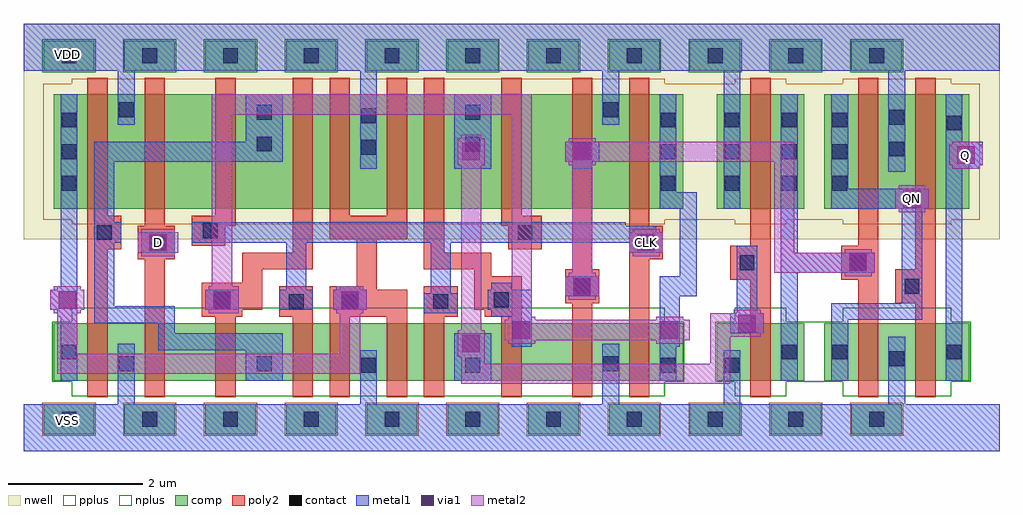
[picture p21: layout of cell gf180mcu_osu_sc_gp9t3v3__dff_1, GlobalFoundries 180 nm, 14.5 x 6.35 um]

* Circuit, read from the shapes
.subckt gf180mcu_osu_sc_gp9t3v3__dff_1 CLK D Q QN VDD VSS
XM1 VSS n1 n2 VSS nfet_03v3 w=0.85u l=0.3u
XM2 n3 D VSS VSS nfet_03v3 w=0.85u l=0.3u
XM3 n1 n4 n3 VSS nfet_03v3 w=0.85u l=0.3u
XM4 n5 CLK n1 VSS nfet_03v3 w=0.85u l=0.3u
XM5 VSS n2 n5 VSS nfet_03v3 w=0.85u l=0.3u
XM6 n6 n2 VSS VSS nfet_03v3 w=0.85u l=0.3u
XM7 n7 CLK n6 VSS nfet_03v3 w=0.85u l=0.3u
XM8 n8 n4 n7 VSS nfet_03v3 w=0.85u l=0.3u
XM9 VSS n9 n8 VSS nfet_03v3 w=0.85u l=0.3u
XM10 n4 CLK VSS VSS nfet_03v3 w=0.85u l=0.3u
XM11 n9 n7 VSS VSS nfet_03v3 w=0.85u l=0.3u
XM12 VSS n9 QN VSS nfet_03v3 w=0.85u l=0.3u
XM13 Q QN VSS VSS nfet_03v3 w=0.85u l=0.3u
XM14 VDD n1 n2 VDD pfet_03v3 w=1.7u l=0.3u
XM15 n10 D VDD VDD pfet_03v3 w=1.7u l=0.3u
XM16 n1 CLK n10 VDD pfet_03v3 w=1.7u l=0.3u
XM17 n11 n4 n1 VDD pfet_03v3 w=1.7u l=0.3u
XM18 VDD n2 n11 VDD pfet_03v3 w=1.7u l=0.3u
XM19 n12 n2 VDD VDD pfet_03v3 w=1.7u l=0.3u
XM20 n7 n4 n12 VDD pfet_03v3 w=1.7u l=0.3u
XM21 n13 CLK n7 VDD pfet_03v3 w=1.7u l=0.3u
XM22 VDD n9 n13 VDD pfet_03v3 w=1.7u l=0.3u
XM23 n4 CLK VDD VDD pfet_03v3 w=1.7u l=0.3u
XM24 n9 n7 VDD VDD pfet_03v3 w=1.7u l=0.3u
XM25 VDD n9 QN VDD pfet_03v3 w=1.7u l=0.3u
XM26 Q QN VDD VDD pfet_03v3 w=1.7u l=0.3u
.ends

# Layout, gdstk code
import gdstk
lib = gdstk.Library(unit=1e-6, precision=1e-09)
def R(c, l, rs):  # rectangles x0, y0, x1, y1
    for r in rs: c.add(gdstk.rectangle(r[:2], r[2:], *l))
def A(c, l, x, y, w, h, nx, ny, dx, dy):  # array of equal rectangles
    R(c, l, [(x+i*dx, y+j*dy, x+i*dx+w, y+j*dy+h) for i in range(nx) for j in range(ny)])
nwell = (21, 0)
comp = (22, 0)
poly2 = (30, 0)
pplus = (31, 0)
nplus = (32, 0)
contact = (33, 0)
metal1 = (34, 0)
via1 = (35, 0)
metal2 = (36, 0)

gf180mcu_osu_sc_gp9t3v3_ = lib.new_cell('gf180mcu_osu_sc_gp9t3v3__dff_1')
R(gf180mcu_osu_sc_gp9t3v3_, nwell, [(0,3.15,14.5,6.35)])
A(gf180mcu_osu_sc_gp9t3v3_, comp, 0.3, 0.25, 0.75, 0.45, 11, 2, 1.2, 5.4)
R(gf180mcu_osu_sc_gp9t3v3_, comp, [(0.45,1.05,9.8,1.9), (10.3,1.05,11.6,1.9), (11.9,1.05,14.05,1.9), (0.45,3.6,9.8,5.3), (10.3,3.6,11.6,5.3), (11.9,3.6,14.05,5.3)])
R(gf180mcu_osu_sc_gp9t3v3_, poly2, [(0.95,0.8,1.25,3), (1.8,0.8,2.1,2.85), (2.85,0.8,3.15,2), (4,0.8,4.3,2), (4.55,0.8,4.85,2), (5.4,0.8,5.7,2), (5.95,0.8,6.25,2), (7.1,0.8,7.4,2), (8.15,0.8,8.45,2.2), (9,0.8,9.3,2.85), (10.8,0.8,11.1,2.55), (12.4,0.8,12.7,2.55), (13.25,0.8,13.55,2.2), (2.65,2,3.25,2.1), (3.8,2,4.3,2.45), (4.55,2,5.7,2.4), (5.95,2,6.45,2.45), (6.85,2,7.4,2.1), (2.65,2.1,3.55,2.5), (6.7,2.1,7.4,2.6), (8.05,2.2,8.55,2.7), (12.95,2.2,13.55,2.7), (4.55,2.4,5.25,2.45), (4.95,2.45,5.25,3.15), (3.25,2.5,3.55,2.7), (10.5,2.55,11.1,3.05), (12.15,2.55,12.7,3.05), (6.7,2.6,6.95,2.7), (3.25,2.7,4.3,2.95), (5.95,2.7,6.95,2.95), (8.15,2.7,8.45,5.55), (13.25,2.7,13.55,5.55), (1.7,2.85,2.25,3.35), (9,2.85,9.5,3.35), (4,2.95,4.3,5.55), (5.95,2.95,6.25,5.55), (0.95,3,1.45,3.5), (7.2,3,7.7,3.35), (2.5,3.05,3,3.35), (10.8,3.05,11.1,5.55), (12.4,3.05,12.7,5.55), (4.55,3.15,5.7,3.5), (1.8,3.35,2.1,5.55), (2.5,3.35,3.15,3.5), (7.1,3.35,7.7,3.5), (9,3.35,9.3,5.55), (0.95,3.5,1.25,5.55), (2.85,3.5,3.15,5.55), (4.55,3.5,4.85,5.55), (5.4,3.5,5.7,5.55), (7.1,3.5,7.4,5.55)])
A(gf180mcu_osu_sc_gp9t3v3_, pplus, 0.28, 0.23, 0.79, 0.49, 11, 1, 1.2, 0)
R(gf180mcu_osu_sc_gp9t3v3_, pplus, [(0.72,3.37,9.53,3.44), (10.57,3.37,11.33,3.44), (12.17,3.37,13.78,3.44), (0.29,3.44,14.21,5.46), (0.72,5.46,9.53,5.53), (10.57,5.46,11.33,5.53), (12.17,5.46,13.78,5.53)])
A(gf180mcu_osu_sc_gp9t3v3_, nplus, 0.28, 5.63, 0.79, 0.49, 11, 1, 1.2, 0)
R(gf180mcu_osu_sc_gp9t3v3_, nplus, [(0.72,0.82,9.53,1.03), (10.57,0.82,11.33,1.03), (12.17,0.82,13.78,1.03), (0.43,1.03,9.82,1.92), (10.28,1.03,14.07,1.92), (0.72,1.92,9.53,2.13), (10.57,1.92,11.33,2.13), (12.17,1.92,13.78,2.13)])
A(gf180mcu_osu_sc_gp9t3v3_, contact, 0.565, 0.365, 0.22, 0.22, 11, 2, 1.2, 5.4)
A(gf180mcu_osu_sc_gp9t3v3_, contact, 0.565, 3.87, 0.22, 0.22, 1, 3, 0, 0.47)
A(gf180mcu_osu_sc_gp9t3v3_, contact, 9.465, 3.87, 0.22, 0.22, 1, 3, 0, 0.47)
A(gf180mcu_osu_sc_gp9t3v3_, contact, 10.415, 3.87, 0.22, 0.22, 1, 3, 0, 0.47)
A(gf180mcu_osu_sc_gp9t3v3_, contact, 11.265, 3.87, 0.22, 0.22, 1, 3, 0, 0.47)
A(gf180mcu_osu_sc_gp9t3v3_, contact, 12.015, 3.87, 0.22, 0.22, 1, 3, 0, 0.47)
R(gf180mcu_osu_sc_gp9t3v3_, contact, [(5.015,1.165,5.235,1.385), (6.565,1.165,6.785,1.385), (9.465,1.165,9.685,1.385), (10.415,1.165,10.635,1.385), (1.415,1.19,1.635,1.41), (3.465,1.19,3.685,1.41), (8.615,1.19,8.835,1.41), (12.865,1.265,13.085,1.485), (0.565,1.365,0.785,1.585), (11.265,1.365,11.485,1.585), (12.015,1.365,12.235,1.585), (13.715,1.365,13.935,1.585), (3.94,2.115,4.16,2.335), (4.74,2.115,4.96,2.335), (6.09,2.115,6.31,2.335), (2.84,2.14,3.06,2.36), (6.99,2.14,7.21,2.36), (8.19,2.34,8.41,2.56), (13.09,2.34,13.31,2.56), (10.64,2.69,10.86,2.91), (12.29,2.69,12.51,2.91), (1.89,2.99,2.11,3.21), (9.14,2.99,9.36,3.21), (1.09,3.14,1.31,3.36), (7.34,3.14,7.56,3.36), (2.665,3.165,2.885,3.385), (12.865,4.38,13.085,4.6), (5.015,4.405,5.235,4.625), (3.465,4.455,3.685,4.675), (6.565,4.455,6.785,4.675), (13.715,4.765,13.935,4.985), (12.865,4.85,13.085,5.07), (5.015,4.875,5.235,5.095), (3.465,4.925,3.685,5.145), (6.565,4.925,6.785,5.145), (1.415,4.965,1.635,5.185), (8.615,4.965,8.835,5.185)])
R(gf180mcu_osu_sc_gp9t3v3_, metal1, [(0,0,14.5,0.7), (1.4,0.7,1.65,1.6), (5,0.7,5.25,1.5), (8.6,0.7,8.85,1.6), (10.4,0.7,10.65,1.5), (12.85,0.7,13.1,1.7), (0.55,1.05,0.8,2), (3.3,1.05,3.85,1.5), (6.4,1.05,6.95,1.75), (9.45,1.05,9.7,1.55), (11.25,1.05,11.5,2.65), (12,1.05,12.25,1.95), (13.7,1.05,13.95,4.2), (2,1.5,3.85,1.75), (7.25,1.55,7.55,2), (9.45,1.55,9.75,2.3), (2,1.75,2.25,1.9), (10.5,1.75,11,2.05), (1.05,1.9,2.25,2.15), (12,1.95,13.35,2.2), (0.5,2,0.8,2.1), (6.95,2,7.55,2.1), (5.95,2.05,6.45,2.35), (10.6,2.05,10.9,3.05), (0.4,2.1,0.8,2.4), (2.7,2.1,3.2,2.4), (3.8,2.1,4.3,2.4), (4.6,2.1,5.1,2.4), (6.9,2.1,7.55,2.4), (1.05,2.15,1.35,3.1), (13.05,2.2,13.35,3.6), (8.05,2.3,8.55,2.6), (9.45,2.3,10,2.6), (6.05,2.35,6.35,3.1), (0.5,2.4,0.8,2.45), (3.9,2.4,4.2,3.1), (4.7,2.4,5,2.45), (6.95,2.4,7.25,2.5), (0.55,2.45,0.8,5.3), (9.75,2.6,10,3.6), (11.25,2.65,12.65,2.95), (1.75,2.95,2.25,3.25), (9,2.95,9.5,3.1), (11.25,2.95,11.5,5.3), (1.05,3.1,1.45,3.4), (2.5,3.1,9.5,3.25), (2.5,3.25,9.4,3.35), (2.5,3.35,8.95,3.4), (1.05,3.4,1.35,4.3), (9.45,3.6,10,3.85), (10.4,3.6,10.65,5.65), (12,3.6,13.45,3.9), (9.45,3.85,9.7,5.3), (12,3.9,12.25,5.3), (12.85,4.15,13.1,5.65), (5,4.2,5.25,5.65), (6.4,4.2,6.95,5.3), (8.15,4.2,8.45,4.3), (13.7,4.2,14.2,4.25), (13.7,4.25,14.25,4.6), (1.05,4.3,3.85,4.6), (8.05,4.3,8.55,4.6), (3.3,4.6,3.85,5.3), (13.7,4.6,13.95,5.3), (1.4,4.85,1.65,5.65), (8.6,4.85,8.85,5.65), (0,5.65,14.5,6.35)])
R(gf180mcu_osu_sc_gp9t3v3_, via1, [(6.52,1.47,6.78,1.73), (7.27,1.67,7.53,1.93), (9.47,1.67,9.73,1.93), (10.62,1.77,10.88,2.03), (0.52,2.12,0.78,2.38), (2.82,2.12,3.08,2.38), (4.72,2.12,4.98,2.38), (8.17,2.32,8.43,2.58), (12.27,2.67,12.53,2.93), (1.87,2.97,2.13,3.23), (9.12,2.97,9.38,3.23), (13.07,3.62,13.33,3.88), (13.87,4.27,14.13,4.53), (6.52,4.32,6.78,4.58), (8.17,4.32,8.43,4.58)])
R(gf180mcu_osu_sc_gp9t3v3_, metal2, [(6.5,1,10.5,1.3), (0.5,1.15,5,1.45), (6.5,1.3,6.85,1.4), (10.2,1.3,10.5,1.7), (6.45,1.4,6.85,1.8), (0.5,1.45,0.8,2.05), (4.7,1.45,5,2.05), (7.2,1.6,7.6,1.65), (9.4,1.6,9.8,1.65), (7.15,1.65,9.9,1.95), (10.2,1.7,10.95,1.75), (10.2,1.75,11,2.05), (6.5,1.8,6.8,4.25), (7.2,1.95,7.6,2), (9.4,1.95,9.8,2), (7.25,2,7.55,5), (0.45,2.05,0.85,2.1), (2.75,2.05,3.2,2.1), (4.65,2.05,5.05,2.1), (10.55,2.05,10.95,2.1), (0.4,2.1,0.9,2.4), (2.7,2.1,3.2,2.4), (4.6,2.1,5.1,2.4), (8.1,2.25,8.5,2.3), (8.05,2.3,8.55,2.6), (0.45,2.4,0.85,2.45), (2.75,2.4,3.2,2.45), (4.65,2.4,5.05,2.45), (2.8,2.45,3.1,5), (8.1,2.6,8.5,2.65), (12.2,2.6,12.6,2.65), (8.15,2.65,8.45,4.25), (11.15,2.65,12.65,2.95), (1.75,2.9,2.25,2.95), (9.05,2.9,9.45,2.95), (1.7,2.95,2.3,3.25), (9,2.95,9.5,3.25), (11.15,2.95,11.45,4.3), (12.2,2.95,12.6,3), (1.75,3.25,2.25,3.3), (9.05,3.25,9.45,3.3), (13,3.55,13.4,3.6), (12.95,3.6,13.45,3.9), (13,3.9,13.4,3.95), (13.8,4.2,14.2,4.25), (6.45,4.25,6.85,4.65), (8.1,4.25,8.5,4.3), (13.75,4.25,14.25,4.55), (8.05,4.3,11.45,4.6), (13.8,4.55,14.2,4.6), (8.1,4.6,8.5,4.65), (6.5,4.65,6.8,4.7), (2.8,5,7.55,5.3)])
gf180mcu_osu_sc_gp9t3v3_.add(gdstk.Label('D', (2,3.1), layer=36, texttype=10))
gf180mcu_osu_sc_gp9t3v3_.add(gdstk.Label('Q', (14,4.4), layer=36, texttype=10))
gf180mcu_osu_sc_gp9t3v3_.add(gdstk.Label('QN', (13.2,3.75), layer=36, texttype=10))
gf180mcu_osu_sc_gp9t3v3_.add(gdstk.Label('CLK', (9.25,3.1), layer=36, texttype=10))
gf180mcu_osu_sc_gp9t3v3_.add(gdstk.Label('VDD', (0.65,5.9), layer=34, texttype=10))
gf180mcu_osu_sc_gp9t3v3_.add(gdstk.Label('VSS', (0.65,0.45), layer=34, texttype=10))

lib.write_gds('gf180mcu_osu_sc_gp9t3v3__dff_1.gds')
